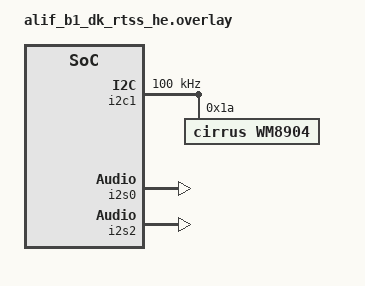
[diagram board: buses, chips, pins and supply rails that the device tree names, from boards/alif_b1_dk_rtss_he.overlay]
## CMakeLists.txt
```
# Copyright (C) 2023 Alif Semiconductor - All Rights Reserved.
# Use, distribution and modification of this code is permitted under the
# terms stated in the Alif Semiconductor Software License Agreement
#
# You should have received a copy of the Alif Semiconductor Software
# License Agreement with this file. If not, please write to:
# contact@alifsemi.com, or visit: https://alifsemi.com/license

cmake_minimum_required(VERSION 3.20.0)
find_package(Zephyr REQUIRED HINTS $ENV{ZEPHYR_BASE})
project(le_audio_broadcast_source)

target_sources(app PRIVATE
    src/main.c
    src/broadcast_source.c
    src/audio_datapath.c
    src/mic_source.c
)
```

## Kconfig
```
#Copyright(C) 2023 Alif Semiconductor - All Rights Reserved.
#Use, distribution and modification of this code is permitted under the
#terms stated in the Alif Semiconductor Software License Agreement
#
#You should have received a copy of the Alif Semiconductor Software
#License Agreement with this file.If not, please write to:
#contact @alifsemi.com, or visit : https: // alifsemi.com/license

menu "Alif Bluetooth LE Audio Broadcast Source"

config BLE_DEVICE_NAME
	string "BLE device name"
	default "ALIF_ZEPHYR"
	help
	  Device name to be included in advertising packets

config BROADCAST_NAME
	string "LE audio broadcast name"
	default "ALIF_LE_AUDIO"

config BROADCAST_PASSWORD
	string "LE audio broadcast password"
	help
	  If defined the broadcast stream will be encrypted.
	  Length needs to be between 4 and 16 chars or empty string (default) to disable.

config LE_AUDIO_PRESENTATION_DELAY_MS
	int "Presentation delay in ms"
	default 40
	help
	  LE audio presentation delay in ms. For the audio source use-case, this is defined as the
	  time in ms from the start of recording an audio frame, to the SDU reference anchor point
	  at which the SDU containing the same audio frame is sent over BLE. The absolute minimum
	  possible presentation delay would be the frame length (10 ms) plus the encoding time of
	  the frame, since it is impossible to send the frame before it has been fully recorded and
	  encoded. But some margin should be added on top of this to account for any overhead and
	  timing variations due to other activities of the software occurring while recording and
	  encoding the audio.

config APP_PRINT_STATS
	bool "Print info about send SDUs"
	depends on LOG

config APP_PRINT_STATS_INTERVAL
	int "Interval for printing info about send frames, in SDU count"
	default 1024
	depends on APP_PRINT_STATS
	help
	  Interval at which to print presentation delay statistics. The interval is measured in SDU
	  count, e.g. 1024 means to print the statistics every 512 SDUs (per channel). With a 10 ms
	  SDU interval this is around 10 seconds.

config MICROPHONE_GAIN
	int "Microphone gain in percentage"
	default 800
	range 100 1000

config INPUT_VOLUME_LEVEL
	int "Input volume level in percentage when MIC input is active"
	default 33
	range 10 100

menu "Logging"

module = MAIN
module-str = main
source "subsys/logging/Kconfig.template.log_config"

module = BROADCAST_SOURCE
module-str = broadcast_source
source "subsys/logging/Kconfig.template.log_config"

module = AUDIO_DATAPATH
module-str = audio_datapath
source "subsys/logging/Kconfig.template.log_config"

endmenu # "Logging"

endmenu # "Alif Bluetooth LE Audio Broadcast Source"

source "Kconfig.zephyr"
```

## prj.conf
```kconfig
# Copyright (C) 2023 Alif Semiconductor - All Rights Reserved.
# Use, distribution and modification of this code is permitted under the
# terms stated in the Alif Semiconductor Software License Agreement
#
# You should have received a copy of the Alif Semiconductor Software
# License Agreement with this file. If not, please write to:
# contact@alifsemi.com, or visit: https://alifsemi.com/license
CONFIG_BT=y
CONFIG_BT_CUSTOM=y
CONFIG_ALIF_ROM_LC3_CODEC=y
CONFIG_ALIF_BLE_AUDIO=y

CONFIG_LOG=y

CONFIG_PRESENTATION_COMPENSATION_DIRECTION_SOURCE=y

CONFIG_AUDIO=y
CONFIG_AUDIO_CODEC=y
CONFIG_AUDIO_CODEC_SHELL=y
CONFIG_SHELL=y

# This is specific to whichever clock you use. Currently presentation layer is
# commented out so this does nothing
CONFIG_AUDIO_CLOCK_DIVIDER=1

# Should be replaced by TRNG when support is available
CONFIG_TEST_RANDOM_GENERATOR=y

# malloc support is required, simplest way is using newlib although it would also be possible to
# configure heap for picolibc
CONFIG_NEWLIB_LIBC=y

# Driver support for audio
CONFIG_I2S=y
CONFIG_I2S_SYNC_BUFFER_FORMAT_SEQUENTIAL=n
CONFIG_DMA=y

CONFIG_BROADCAST_NAME="ALIF_LE_AUDIO"

CONFIG_BROADCAST_PASSWORD="passwordpassword"

# Audio driver support specific to B1 DK board.
# Audio codec is WM8904, connected via I2C.
CONFIG_I2C=y
CONFIG_WM8904=y

CONFIG_I2C_INIT_PRIORITY=50
CONFIG_WM8904_INIT_PRIORITY=99

# For MRAM(XIP) builds with LLVM exception tables cause linker errors as part of the code is placed to TCM
CONFIG_EXCEPTIONS=n
```

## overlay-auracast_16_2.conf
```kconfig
# Auracast Standard Quality codec configurations settings
CONFIG_ALIF_BLE_AUDIO_FS_16KHZ=y
CONFIG_ALIF_BLE_AUDIO_OCTETS_PER_CODEC_FRAME_40=y
CONFIG_ALIF_BLE_AUDIO_RTN_4=y
```

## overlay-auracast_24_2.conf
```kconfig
# Auracast Standard Quality codec configurations settings
CONFIG_ALIF_BLE_AUDIO_FS_24KHZ=y
CONFIG_ALIF_BLE_AUDIO_OCTETS_PER_CODEC_FRAME_60=y
CONFIG_ALIF_BLE_AUDIO_RTN_4=y
```

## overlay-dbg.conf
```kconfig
CONFIG_NO_OPTIMIZATIONS=y

# Debug
CONFIG_LOG=y
#CONFIG_USE_SEGGER_RTT=y
#CONFIG_RTT_CONSOLE=y

#CONFIG_APP_PRINT_STATS=y

#CONFIG_MAIN_LOG_LEVEL_DBG=y
#CONFIG_BROADCAST_SOURCE_LOG_LEVEL_DBG=y
#CONFIG_BLE_AUDIO_LOG_LEVEL_DBG=y
#CONFIG_PRESENTATION_COMPENSATION_PRINT_STATS=y


## Debugging configuration
CONFIG_THREAD_NAME=y
CONFIG_THREAD_ANALYZER=y
CONFIG_THREAD_ANALYZER_AUTO=y
CONFIG_THREAD_ANALYZER_RUN_UNLOCKED=y
CONFIG_THREAD_ANALYZER_USE_PRINTK=y
CONFIG_THREAD_ANALYZER_AUTO_STACK_SIZE=6044

## Add asserts
CONFIG_ASSERT=y
#CONFIG_ASSERT_VERBOSE=y
#CONFIG_ASSERT_NO_COND_INFO=n
#CONFIG_ASSERT_NO_MSG_INFO=n

CONFIG_STACK_SENTINEL=y

#CONFIG_LOG_MODE_IMMEDIATE=y
CONFIG_LOG_MODE_MINIMAL=y
#CONFIG_LC3_ENCODER_STACK_SIZE=6044
```

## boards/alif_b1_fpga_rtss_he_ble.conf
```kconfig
# Copyright (C) 2023 Alif Semiconductor - All Rights Reserved.
# Use, distribution and modification of this code is permitted under the
# terms stated in the Alif Semiconductor Software License Agreement
#
# You should have received a copy of the Alif Semiconductor Software
# License Agreement with this file. If not, please write to:
# contact@alifsemi.com, or visit: https://alifsemi.com/license

# Audio clock is provided by SI570, connected via I2C using TCA9548 I2C mux.
CONFIG_SI570=y

CONFIG_I2C_TCA954X_ROOT_INIT_PRIO=51
CONFIG_I2C_TCA954X_CHANNEL_INIT_PRIO=52

# SI570 clock output is passed through a fixed /8 divider to create MCLK signal
CONFIG_AUDIO_CLOCK_DIVIDER=8

# 24 MHz FPGA bitstream is not fast enough to encode stereo
CONFIG_ALIF_BLE_AUDIO_NMB_CHANNELS=1
```

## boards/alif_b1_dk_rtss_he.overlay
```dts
/* Copyright (C) 2023 Alif Semiconductor - All Rights Reserved.
 * Use, distribution and modification of this code is permitted under the
 * terms stated in the Alif Semiconductor Software License Agreement
 *
 * You should have received a copy of the Alif Semiconductor Software
 * License Agreement with this file. If not, please write to:
 * contact@alifsemi.com, or visit: https: //alifsemi.com/license
 *
 */

#include <dt-bindings/pinctrl/balletto-pinctrl.h>
#include <dt-bindings/i2c/i2c.h>
#include <dt-bindings/gpio/gpio.h>

#define I2S0_IRQ_NUM  141
#define I2S0_IRQ_PRIO 3

#define LPI2S_IRQ_NUM  48
#define LPI2S_IRQ_PRIO 3

#define I2S0_DMA_RX_CH  2
#define I2S0_DMA_RX_REQ 24
#define I2S0_DMA_TX_CH  3
#define I2S0_DMA_TX_REQ 28

#define LPI2S_DMA_RX_CH  4
#define LPI2S_DMA_RX_REQ 14
#define LPI2S_DMA_TX_CH  5
#define LPI2S_DMA_TX_REQ 15

#define AUDIO_DMA_ENABLED 1
#define MIC_DMA_ENABLED 1

/ {
	aliases {
		audio-codec = &wm8904;
		i2s-input = &i2s0;
		i2s-mic = &i2s2;
	};
};

&dma2 {
	status = "okay";
	dma-channels = <8>;
	interrupts = <0 3>, <1 3>, <2 3>, <3 3>, <4 3>, <5 3>,
		     <6 3>, <7 3>, <32 3>;
	interrupt-names = "channel0", "channel1",
			  "channel2", "channel3",
			  "channel4", "channel5",
			  "channel6", "channel7",
			  "abort";
};

&i2c1 {
	clock-frequency = <I2C_BITRATE_STANDARD>;
	status = "okay";

	wm8904: wm8904@1a {
		compatible = "cirrus,wm8904";
		reg = <0x1a>;
		status = "okay";
	};
};

&i2s0 {
	/delete-property/ clock-frequency;
	/delete-property/ driver_instance;
	compatible = "alif,i2s-sync";
	interrupts = <I2S0_IRQ_NUM I2S0_IRQ_PRIO>;
	bit-depth = <16>;
	sample-rate = <48000>;
	status = "okay";
#if AUDIO_DMA_ENABLED
	dmas = <&dma2 I2S0_DMA_RX_CH I2S0_DMA_RX_REQ>,
	       <&dma2 I2S0_DMA_TX_CH I2S0_DMA_TX_REQ>;
	dma-names = "rxdma", "txdma";
#endif
};

&i2s2 {
	/delete-property/ clock-frequency;
	/delete-property/ driver_instance;
	compatible = "alif,i2s-sync";
	interrupts = <LPI2S_IRQ_NUM LPI2S_IRQ_PRIO>;
	bit-depth = <16>;
	sample-rate = <48000>;
	status = "okay";
#if MIC_DMA_ENABLED
	dmas = <&dma2 LPI2S_DMA_RX_CH LPI2S_DMA_RX_REQ>,
	       <&dma2 LPI2S_DMA_TX_CH LPI2S_DMA_TX_REQ>;
	dma-names = "rxdma", "txdma";
#endif
};

&pinctrl_i2c1 {
	group0 {
		pinmux = <PIN_P7_2__I2C1_SDA_C>,
			 <PIN_P7_3__I2C1_SCL_C>;
	};
};

&pinctrl_i2s0 {
	group0 {
		pinmux = <PIN_P2_4__I2S0_SDI_B>,
			 <PIN_P2_5__I2S0_SDO_B>,
			 <PIN_P1_7__I2S0_WS_A>,
			 <PIN_P1_6__I2S0_SCLK_A>;
	};
};

/* Jouystick middle button */
&pinctrl_gpio5 {
	group1 {
		pinmux = <PIN_P5_7__GPIO>;
		driver_state_control = <1>;
		read_enable = < 0x1 >;
	};
};

/* Disable unnecessary nodes */
&i2s1 {
	status = "disabled";
};
&uart_ahi {
	status = "disabled";
};
```

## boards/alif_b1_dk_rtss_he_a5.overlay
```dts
/* Copyright Alif Semiconductor - All Rights Reserved.
 * Use, distribution and modification of this code is permitted under the
 * terms stated in the Alif Semiconductor Software License Agreement
 *
 * You should have received a copy of the Alif Semiconductor Software
 * License Agreement with this file. If not, please write to:
 * contact@alifsemi.com, or visit: https: //alifsemi.com/license
 *
 */

#include <dt-bindings/pinctrl/balletto-pinctrl.h>
#include <dt-bindings/i2c/i2c.h>
#include <dt-bindings/gpio/gpio.h>

#define I2S0_IRQ_NUM  141
#define I2S0_IRQ_PRIO 3

#define LPI2S_IRQ_NUM  48
#define LPI2S_IRQ_PRIO 3

#define I2S0_DMA_RX_CH  2
#define I2S0_DMA_RX_REQ 24
#define I2S0_DMA_TX_CH  3
#define I2S0_DMA_TX_REQ 28

#define LPI2S_DMA_RX_CH  4
#define LPI2S_DMA_RX_REQ 14
#define LPI2S_DMA_TX_CH  5
#define LPI2S_DMA_TX_REQ 15

#define AUDIO_DMA_ENABLED 1
#define MIC_DMA_ENABLED 1

/ {
	aliases {
		audio-codec = &wm8904;
		i2s-input = &i2s0;
	};
};

&dma2 {
	status = "okay";
	dma-channels = <8>;
	interrupts = <0 3>, <1 3>, <2 3>, <3 3>, <4 3>, <5 3>,
		     <6 3>, <7 3>, <32 3>;
	interrupt-names = "channel0", "channel1",
			  "channel2", "channel3",
			  "channel4", "channel5",
			  "channel6", "channel7",
			  "abort";
};

&i2c1 {
	clock-frequency = <I2C_BITRATE_STANDARD>;
	status = "okay";

	wm8904: wm8904@1a {
		compatible = "cirrus,wm8904";
		reg = <0x1a>;
		status = "okay";
	};
};

&i2s0 {
	/delete-property/ clock-frequency;
	/delete-property/ driver_instance;
	compatible = "alif,i2s-sync";
	interrupts = <I2S0_IRQ_NUM I2S0_IRQ_PRIO>;
	bit-depth = <16>;
	sample-rate = <48000>;
	status = "okay";
#if AUDIO_DMA_ENABLED
	dmas = <&dma2 I2S0_DMA_RX_CH I2S0_DMA_RX_REQ>,
	       <&dma2 I2S0_DMA_TX_CH I2S0_DMA_TX_REQ>;
	dma-names = "rxdma", "txdma";
#endif
};

&pinctrl_i2c1 {
	group0 {
		pinmux = <PIN_P7_2__I2C1_SDA_C>,
			 <PIN_P7_3__I2C1_SCL_C>;
	};
};

&pinctrl_i2s0 {
	group0 {
		pinmux = <PIN_P2_4__I2S0_SDI_B>,
			 <PIN_P2_5__I2S0_SDO_B>,
			 <PIN_P1_7__I2S0_WS_A>,
			 <PIN_P1_6__I2S0_SCLK_A>;
	};
};

/* Jouystick middle button */
&pinctrl_gpio5 {
	group1 {
		pinmux = <PIN_P5_7__GPIO>;
		driver_state_control = <1>;
		read_enable = < 0x1 >;
	};
};

/* Disable unnecessary nodes */
&i2s1 {
	status = "disabled";
};
&i2s2 {
	status = "disabled";
};
&uart_ahi {
	status = "disabled";
};
```

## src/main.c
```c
/* Copyright (C) 2023 Alif Semiconductor - All Rights Reserved.
 * Use, distribution and modification of this code is permitted under the
 * terms stated in the Alif Semiconductor Software License Agreement
 *
 * You should have received a copy of the Alif Semiconductor Software
 * License Agreement with this file. If not, please write to:
 * contact@alifsemi.com, or visit: https://alifsemi.com/license
 */

#include <zephyr/kernel.h>
#include <zephyr/drivers/gpio.h>
#include <zephyr/logging/log.h>
#include <zephyr/sys/__assert.h>
#include "alif_ble.h"
#include "gapm.h"
#include "gap_le.h"
#include "broadcast_source.h"
#include "audio_datapath.h"

LOG_MODULE_REGISTER(main, CONFIG_MAIN_LOG_LEVEL);

#define MIC_ENABLED (DT_NODE_EXISTS(DT_ALIAS(i2s_mic)) && DT_NODE_EXISTS(DT_ALIAS(sw0)))

#if MIC_ENABLED
static const struct gpio_dt_spec button = GPIO_DT_SPEC_GET_OR(DT_ALIAS(sw0), gpios, {0});
static const struct gpio_dt_spec led = GPIO_DT_SPEC_GET_OR(DT_ALIAS(led0), gpios, {0});

#if CONFIG_I2S_SYNC_BUFFER_FORMAT_SEQUENTIAL
#error "Sequential buffer format is not supported"
#endif
#endif

/**
 * Bluetooth stack configuration
 */
static const gapm_config_t gapm_cfg = {
	.role = GAP_ROLE_LE_BROADCASTER,
	.pairing_mode = GAPM_PAIRING_DISABLE,
	.privacy_cfg = 0,
	.renew_dur = 1500,
	.private_identity.addr = {0, 0, 0, 0, 0, 0},
	.irk.key = {0, 0, 0, 0, 0, 0, 0, 0, 0, 0, 0, 0, 0, 0, 0, 0},
	.gap_start_hdl = 0,
	.gatt_start_hdl = 0,
	.att_cfg = 0,
	.sugg_max_tx_octets = GAP_LE_MAX_OCTETS,
	/* Use the minimum transmission time to minimize latency */
	.sugg_max_tx_time = GAP_LE_MIN_TIME,
	.tx_pref_phy = GAP_PHY_ANY,
	.rx_pref_phy = GAP_PHY_ANY,
	.tx_path_comp = 0,
	.rx_path_comp = 0,
	.class_of_device = 0,  /* BT Classic only */
	.dflt_link_policy = 0, /* BT Classic only */
};

#if !CONFIG_ALIF_BLE_ROM_IMAGE_V1_0 /* ROM version > 1.0 */
static void on_gapm_err(uint32_t metainfo, uint8_t code)
{
	LOG_ERR("gapm error %d", code);
}

static const gapm_cb_t gapm_err_cbs = {
	.cb_hw_error = on_gapm_err,
};

/* For the broadcaster role, callbacks are not mandatory */
static const gapm_callbacks_t gapm_cbs = {
	.p_con_req_cbs = NULL,
	.p_sec_cbs = NULL,
	.p_info_cbs = NULL,
	.p_le_config_cbs = NULL,
	.p_bt_config_cbs = NULL,
	.p_gapm_cbs = &gapm_err_cbs,
};
#else /* ROM version 1.0 */
static void on_gapm_err(enum co_error err)
{
	LOG_ERR("gapm error %d", err);
}

static const gapm_err_info_config_cb_t gapm_err_cbs = {
	.ctrl_hw_error = on_gapm_err,
};

/* For the broadcaster role, callbacks are not mandatory */
static const gapm_callbacks_t gapm_cbs = {
	.p_con_req_cbs = NULL,
	.p_sec_cbs = NULL,
	.p_info_cbs = NULL,
	.p_le_config_cbs = NULL,
	.p_bt_config_cbs = NULL,
	.p_err_info_config_cbs = &gapm_err_cbs,
};
#endif

static void on_gapm_process_complete(uint32_t metainfo, uint16_t status)
{
	if (status) {
		LOG_ERR("gapm process completed with error %u", status);
		return;
	}

	LOG_DBG("gapm process completed successfully");

	int ret = broadcast_source_start();

	if (ret != 0) {
		LOG_ERR("Failed to start broadcast source with error %d", ret);
	}
}

#if MIC_ENABLED

#define BUTTON_DEBOUNCE_MS  5
#define PTT_MINIMUM_TIME_MS 200
#define BUTTON_INVERTED     true

static void set_led(bool const state)
{
	if (!led.port) {
		return;
	}
	gpio_pin_set_dt(&led, state);
}

static bool get_button_state(void)
{
	if (!button.port) {
		return false;
	}
	return !!gpio_pin_get_dt(&button) ^ BUTTON_INVERTED;
}

static void stop_push_to_talk(struct k_work *work)
{
	ARG_UNUSED(work);
	/* Stop push to talk.... */
	audio_datapath_mic_control(false);
	set_led(false);
}

static K_WORK_DELAYABLE_DEFINE(stop_ptt_work, stop_push_to_talk);

static bool last_button_state = true;

static void debounce_expired(struct k_work *work)
{
	ARG_UNUSED(work);

	bool const button_state = get_button_state();

	if (button_state == last_button_state) {
		/* Ignore if state is not changed */
		return;
	}
	last_button_state = button_state;

	if (button_state) {
		/* pressed... */
		(void)k_work_cancel_delayable(&stop_ptt_work);
		audio_datapath_mic_control(true);
		set_led(true);
		return;
	}

	/* Delay shutdown a bit to avoid weird behaviors */
	k_work_reschedule(&stop_ptt_work, K_MSEC(PTT_MINIMUM_TIME_MS));
}

static K_WORK_DELAYABLE_DEFINE(debounce_work, debounce_expired);

static void button_pressed(const struct device *dev, struct gpio_callback *cb, uint32_t pins)
{
	k_work_reschedule(&debounce_work, K_MSEC(BUTTON_DEBOUNCE_MS));
}

static int configure_button(void)
{
	static struct gpio_callback button_cb_data;

	/* Configure button */
	if (!gpio_is_ready_dt(&button)) {
		LOG_WRN("Button is not ready or not configured... ignore");
		return 0;
	}

	if (gpio_pin_configure_dt(&button, GPIO_INPUT)) {
		LOG_ERR("Button configure failed");
		return -1;
	}

	if (gpio_pin_interrupt_configure_dt(&button, GPIO_INT_EDGE_BOTH) != 0) {
		LOG_ERR("button int conf failed");
		return -1;
	}

	gpio_init_callback(&button_cb_data, button_pressed, BIT(button.pin));
	if (gpio_add_callback(button.port, &button_cb_data) != 0) {
		LOG_ERR("cb add failed");
		return -1;
	}

	last_button_state = get_button_state();

	LOG_INF("push-to-talk functionality enabled");

	return 0;
}

static int configure_led(void)
{
	if (!gpio_is_ready_dt(&led)) {
		return 0;
	}

	if (gpio_pin_configure_dt(&led, GPIO_OUTPUT_ACTIVE)) {
		LOG_ERR("led configure failed");
		return -1;
	}

	set_led(false);
	return 0;
}
#else
#define configure_button() 0
#define configure_led()    0
#endif

int main(void)
{
	if (configure_button()) {
		return -1;
	}

	if (configure_led()) {
		return -1;
	}

	int ret = alif_ble_enable(NULL);

	if (ret) {
		LOG_ERR("Failed to enable bluetooth, err %d", ret);
		return ret;
	}

	LOG_DBG("BLE enabled");

	uint16_t err = gapm_configure(0, &gapm_cfg, &gapm_cbs, on_gapm_process_complete);

	if (err != 0) {
		LOG_ERR("gapm_configure error %u", err);
		return -1;
	}

	while (1) {
		k_sleep(K_SECONDS(5));
	}

	return 0;
}
```

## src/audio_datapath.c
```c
/* Copyright (C) 2025 Alif Semiconductor - All Rights Reserved.
 * Use, distribution and modification of this code is permitted under the
 * terms stated in the Alif Semiconductor Software License Agreement
 *
 * You should have received a copy of the Alif Semiconductor Software
 * License Agreement with this file. If not, please write to:
 * contact@alifsemi.com, or visit: https://alifsemi.com/license
 */

#include <zephyr/kernel.h>
#include <zephyr/device.h>
#include <zephyr/logging/log.h>
#include <zephyr/audio/codec.h>
#include "bluetooth/le_audio/audio_encoder.h"
#include "bluetooth/le_audio/audio_source_i2s.h"
#include "audio_datapath.h"
#include "mic_source.h"

LOG_MODULE_REGISTER(audio_datapath, CONFIG_AUDIO_DATAPATH_LOG_LEVEL);

#if CONFIG_ALIF_BLE_AUDIO_USE_RAMFUNC
#define INT_RAMFUNC __ramfunc
#else
#define INT_RAMFUNC
#endif

#define MIC_LEVEL_CALC(_s)   (((int)(_s) * CONFIG_MICROPHONE_GAIN) / 100)
#define INPUT_LEVEL_CALC(_s) (((int)(_s) * CONFIG_INPUT_VOLUME_LEVEL) / 100)

#define I2S_NODE     DT_ALIAS(i2s_input)
#define I2S_MIC_NODE DT_ALIAS(i2s_mic)
#define CODEC_NODE   DT_ALIAS(audio_codec)

const struct device *i2s_dev = DEVICE_DT_GET(I2S_NODE);
const struct device *codec_dev = DEVICE_DT_GET(CODEC_NODE);
const struct device *i2s_mic_dev = DEVICE_DT_GET_OR_NULL(I2S_MIC_NODE);

/* Audio datapath handles */
static struct audio_encoder *audio_encoder;

#if CONFIG_APP_PRINT_STATS
static void on_frame_complete(void *param, uint32_t timestamp, uint16_t sdu_seq)
{
	if ((sdu_seq % CONFIG_APP_PRINT_STATS_INTERVAL) == 0) {
		LOG_INF("SDU sequence number: %u", sdu_seq);
	}
}
#endif

#ifdef CONFIG_PRESENTATION_COMPENSATION_DEBUG
void on_timing_debug_info_ready(struct presentation_comp_debug_data *dbg_data)
{
	LOG_INF("Presentation compensation debug data is ready");
}
#endif

static int configure_codec(const uint32_t sampling_rate_hz)
{
	int ret;
	/* clang-format off */
	struct audio_codec_cfg codec_cfg = {
		.dai_type = AUDIO_DAI_TYPE_I2S,
		.dai_cfg = {
			.i2s = {
				.word_size = AUDIO_PCM_WIDTH_16_BITS,
				.channels = 2,
				.format = I2S_FMT_DATA_FORMAT_I2S,
				.options = 0,
				.frame_clk_freq = sampling_rate_hz,
				.mem_slab = NULL,
				.block_size = 0,
				.timeout = 0,
			},
		},
	};
	/* clang-format on */

	/* Configure codec */
	ret = audio_codec_configure(codec_dev, &codec_cfg);
	if (ret) {
		LOG_ERR("Failed to configure source codec. err %d", ret);
		return ret;
	}
	audio_codec_start_output(codec_dev);

	return 0;
}

INT_RAMFUNC static void audio_encoder_mixer_thread_func(void *p1, void *p2, void *p3)
{
	/* thread:
	 * get audio input jack buffer
	 * if audio_queue_mic has data available
	 *     adjust mic gain
	 *     lower input audio gain
	 *     mix mic and audio input samples
	 *     free mic data
	 * end
	 * push audio samples to LC3 encoder
	 * free audio input buffer
	 */

	struct audio_queue *audio_queue_in1 = p1; /* input I2S codec (WM8904) */
	struct audio_queue *audio_queue_in2 = p2; /* input I2S MIC */
	struct audio_queue *audio_queue_out = p3; /* output (to LC3 encoder) */
	struct audio_block *audio_in1;
	struct audio_block *audio_in2;
	struct audio_block *audio_out;
	int ret;

	LOG_DBG("Mixer thread started");

	while (1) {
		audio_out = audio_in2 = audio_in1 = NULL;
		ret = k_msgq_get(&audio_queue_in1->msgq, &audio_in1, K_FOREVER);
		if (ret || !audio_in1) {
			continue;
		}

		ret = k_msgq_get(&audio_queue_in2->msgq, &audio_in2, K_NO_WAIT);
		if (!ret && audio_in2) {
			/* Do mixing... */
			size_t const samples =
				audio_queue_in2->audio_block_samples * audio_in2->num_channels;
			pcm_sample_t *p_mic_data = audio_in2->channels[0];
			bool const mic_has_right_channel = audio_in2->num_channels > 1;

			pcm_sample_t *p_input_left = audio_in1->channels[0];
			pcm_sample_t *p_input_right =
				audio_in1->num_channels > 1 ? audio_in1->channels[1] : NULL;
			pcm_sample_t data;

			for (size_t sample = 0; sample < samples; sample++) {
				data = *p_mic_data++;
				data = MIC_LEVEL_CALC(data);

				if ((sample & 1) && mic_has_right_channel) { /* Right channel */
					if (p_input_right) {
						*p_input_right =
							data + INPUT_LEVEL_CALC(*p_input_right);
						p_input_right++;
					}
				} else { /* Left channel */
					*p_input_left = data + INPUT_LEVEL_CALC(*p_input_left);
					p_input_left++;
				}
			}
			k_mem_slab_free(&audio_queue_in2->slab, audio_in2);
		}

		ret = k_mem_slab_alloc(&audio_queue_out->slab, (void **)&audio_out, K_NO_WAIT);
		if (ret || !audio_out) {
			k_mem_slab_free(&audio_queue_in1->slab, audio_in1);
			continue;
		}

		/* Copy in1 to out */
		memcpy(audio_out, audio_in1, sizeof(*audio_out));

		ret = k_msgq_put(&audio_queue_out->msgq, &audio_out, K_NO_WAIT);
		if (ret) {
			k_mem_slab_free(&audio_queue_out->slab, audio_out);
		}
		k_mem_slab_free(&audio_queue_in1->slab, audio_in1);
	}
}

static int configure_mic_input(void)
{
	/*
	 * Two I2S input queues are used:
	 *   - audio jack I2S input (audio_queue_i2s)
	 *   - mic I2S input (audio_queue_mic)
	 *
	 * Configured (audio encoder input) audio I2S input queue will be changed
	 * to audio_queue_i2s and the created thread will mix audio_queue_mic
	 * into audio_queue_i2s. Result will be copied and pushed to
	 * audio_queue_current (audio encoder input queue).
	 */

	struct audio_queue *audio_queue_current = audio_encoder_audio_queue_get(audio_encoder);

	if (!audio_queue_current) {
		LOG_ERR("Failed to get audio queue");
		return -ENODEV;
	}

	struct audio_queue *audio_queue_mic, *audio_queue_i2s;

	audio_queue_mic = audio_queue_create(audio_queue_current->item_count,
					     audio_queue_current->sampling_freq_hz,
					     audio_queue_current->frame_duration_us);

	if (!audio_queue_mic) {
		LOG_ERR("Failed to create audio queue");
		return -ENOMEM;
	}

	audio_queue_i2s = audio_queue_create(audio_queue_current->item_count,
					     audio_queue_current->sampling_freq_hz,
					     audio_queue_current->frame_duration_us);

	if (!audio_queue_i2s) {
		audio_queue_delete(audio_queue_mic);
		LOG_ERR("Failed to create audio queue");
		return -ENOMEM;
	}

	int ret = audio_source_i2s_configure(i2s_dev, audio_queue_i2s);

	if (ret != 0) {
		audio_queue_delete(audio_queue_i2s);
		audio_queue_delete(audio_queue_mic);
		LOG_ERR("Failed to configure audio source I2S, err %d", ret);
		return ret;
	}

	ret = mic_i2s_configure(i2s_mic_dev, audio_queue_mic);
	if (ret != 0) {
		audio_queue_delete(audio_queue_i2s);
		audio_queue_delete(audio_queue_mic);
		LOG_ERR("Failed to configure mic I2S, err %d", ret);
		return ret;
	}

	static struct k_thread mixer_thread;

	static K_THREAD_STACK_DEFINE(mixer_thread_stack, 2048);

	k_tid_t tid = k_thread_create(
		&mixer_thread, mixer_thread_stack, K_THREAD_STACK_SIZEOF(mixer_thread_stack),
		audio_encoder_mixer_thread_func, audio_queue_i2s, audio_queue_mic,
		audio_queue_current, CONFIG_ALIF_BLE_HOST_THREAD_PRIORITY + 1, 0, K_NO_WAIT);

	if (!tid) {
		audio_queue_delete(audio_queue_i2s);
		audio_queue_delete(audio_queue_mic);
		LOG_ERR("Failed to create mixer thread");
		return -EINVAL;
	}

	k_thread_name_set(tid, "mixer");

	return 0;
}

int audio_datapath_init(void)
{
	if (!device_is_ready(i2s_dev)) {
		LOG_ERR("I2S device is not ready");
		return -ENODEV;
	}
	if (!device_is_ready(codec_dev)) {
		LOG_ERR("Audio codec device is not ready");
		return -ENODEV;
	}
	if (i2s_mic_dev && !device_is_ready(i2s_mic_dev)) {
		LOG_ERR("I2S MIC device is not ready");
		return -1;
	}

	struct audio_encoder_params const enc_params = {
		.i2s_dev = i2s_dev,
		.frame_duration_us =
			IS_ENABLED(CONFIG_ALIF_BLE_AUDIO_FRAME_DURATION_10MS) ? 10000 : 7500,
		.sampling_rate_hz = CONFIG_ALIF_BLE_AUDIO_FS_HZ,
		.audio_buffer_len_us = 2 * CONFIG_ALIF_BLE_AUDIO_MAX_TLATENCY,
	};

	audio_encoder_delete(audio_encoder);

	configure_codec(enc_params.sampling_rate_hz);

	audio_encoder = audio_encoder_create(&enc_params);
	if (!audio_encoder) {
		LOG_ERR("Failed to create audio encoder");
		return -ENODEV;
	}

#if CONFIG_APP_PRINT_STATS
	int ret = audio_encoder_register_cb(audio_encoder, on_frame_complete, NULL);

	if (ret != 0) {
		LOG_ERR("Failed to register encoder cb for stats, err %d", ret);
		return ret;
	}
#endif

	if (i2s_mic_dev && configure_mic_input() != 0) {
		LOG_ERR("Failed to configure mic input");
		return -1;
	}

	return 0;
}

int audio_datapath_channel_create(const size_t octets_per_frame, const uint8_t stream_lid)
{
	int ret = audio_encoder_add_channel(audio_encoder, octets_per_frame, stream_lid);

	if (ret) {
		LOG_ERR("Channel %u creation failed. Err %d", stream_lid, ret);
		return ret;
	}
	return 0;
}

void audio_datapath_start(const uint8_t stream_lid)
{
	int retval;

	retval = audio_encoder_start_channel(audio_encoder, stream_lid);
	if (retval != 0) {
		LOG_ERR("Failed to start channel %d, err %d", stream_lid, retval);
		__ASSERT(false, "Failed to start channel");
	}
}

void audio_datapath_mic_control(bool const start)
{
	/* Do nothing if audio encoder is not initialized */
	if (!audio_encoder) {
		return;
	}

	if (start) {
		LOG_INF("MIC start...");
		mic_i2s_start();
		return;
	}

	LOG_INF("MIC stop...");
	mic_i2s_stop();
}
```

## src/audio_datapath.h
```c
/* Copyright (C) 2025 Alif Semiconductor - All Rights Reserved.
 * Use, distribution and modification of this code is permitted under the
 * terms stated in the Alif Semiconductor Software License Agreement
 *
 * You should have received a copy of the Alif Semiconductor Software
 * License Agreement with this file. If not, please write to:
 * contact@alifsemi.com, or visit: https://alifsemi.com/license
 */

#ifndef AUDIO_DATAPATH_H_
#define AUDIO_DATAPATH_H_

#include <zephyr/types.h>
/**
 * @brief Initializes the audio datapath
 *
 * This creates and configures all of the required elements to stream audio from Bluetooth LE to I2S
 *
 * @retval 0 if successful
 * @retval Negative error code on failure
 */
int audio_datapath_init(void);

/**
 * @brief Creates the audio source datapath channel
 *
 * @param octets_per_frame Number of data per frame
 * @param stream_lid Stream local ID of the channel to be created
 *
 * @retval 0 if successful
 * @retval Negative error code on failure
 */
int audio_datapath_channel_create(size_t octets_per_frame, uint8_t stream_lid);

/**
 * @brief Starts the audio datapath
 *
 * This starts reception of the first SDU over the ISO datapath, which when received starts off the
 * operation of the rest of the datapath.
 *
 * @param stream_lid Stream local ID of the channel to be started
 *
 * @retval 0 if successful
 * @retval Negative error code on failure
 */
void audio_datapath_start(uint8_t stream_lid);

/**
 * @brief Controls the microphone input
 *
 * @param start True to start the microphone input, false to stop it
 */
void audio_datapath_mic_control(bool start);

#endif /* AUDIO_DATAPATH_H_ */
```

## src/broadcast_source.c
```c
/* Copyright (C) 2023 Alif Semiconductor - All Rights Reserved.
 * Use, distribution and modification of this code is permitted under the
 * terms stated in the Alif Semiconductor Software License Agreement
 *
 * You should have received a copy of the Alif Semiconductor Software
 * License Agreement with this file. If not, please write to:
 * contact@alifsemi.com, or visit: https://alifsemi.com/license
 */

#include <zephyr/kernel.h>
#include <zephyr/logging/log.h>
#include <zephyr/random/random.h>
#include "bluetooth/le_audio/audio_utils.h"

#include "ke_mem.h"
#include "bap.h"
#include "bap_bc.h"
#include "bap_bc_src.h"
#include "broadcast_source.h"
#include "audio_datapath.h"

LOG_MODULE_REGISTER(broadcast_source, CONFIG_BROADCAST_SOURCE_LOG_LEVEL);

#define PRESENTATION_DELAY_US (CONFIG_LE_AUDIO_PRESENTATION_DELAY_MS * 1000)
#define SUBGROUP_ID           0
#define BIS_ID_BASE           0

#if CONFIG_ALIF_BLE_AUDIO_NMB_CHANNELS >= 2
#define STREAM_LOCATIONS (GAF_LOC_FRONT_LEFT_BIT | GAF_LOC_FRONT_RIGHT_BIT)
#else
#define STREAM_LOCATIONS (GAF_LOC_FRONT_LEFT_BIT)
#endif

static const char bc_password[] = CONFIG_BROADCAST_PASSWORD;

static uint32_t stream_ids[CONFIG_ALIF_BLE_AUDIO_NMB_CHANNELS];
/* Local ID of the broadcast group */
static uint8_t bcast_grp_lid;

static void *alloc_stream_config(uint32_t const location_bf)
{
	/* NOTE: ke_malloc_user must be used to reserve buffer from correct heap! */
	bap_cfg_t *p_stream_cfg = ke_malloc_user(sizeof(*p_stream_cfg), KE_MEM_PROFILE);

	if (!p_stream_cfg) {
		LOG_ERR("Failed to allocate memory for stream configuration");
		return NULL;
	}

	p_stream_cfg->param = (bap_cfg_param_t){
		/* Just set specific location. Other parameters are inherited from subgroup */
		.sampling_freq = BAP_SAMPLING_FREQ_UNKNOWN,
		.frame_dur = BAP_FRAME_DUR_UNKNOWN,
		.frames_sdu = 0,
		.frame_octet = 0,
		.location_bf = location_bf,
	};
	p_stream_cfg->add_cfg.len = 0;

	return p_stream_cfg;
}

static void on_bap_bc_src_cmp_evt(const uint8_t cmd_type, const uint16_t status,
				  const uint8_t grp_lid, const uint8_t sgrp_lid)
{
	LOG_DBG("BAP BC SRC event complete, type %u status %u grp_lid %u sgrp_lid %u", cmd_type,
		status, grp_lid, sgrp_lid);

	switch (cmd_type) {
	case BAP_BC_SRC_CMD_TYPE_ENABLE_PA: {
		LOG_INF("Periodic advertising enabled");

		uint16_t err = bap_bc_src_enable(bcast_grp_lid);

		if (err) {
			LOG_ERR("Failed to enable broadcast source, err %u", err);
		}
		break;
	}

	case BAP_BC_SRC_CMD_TYPE_ENABLE: {
		LOG_INF("Broadcast group %u enabled", bcast_grp_lid);

		uint16_t err = bap_bc_src_start_streaming(bcast_grp_lid, 0xFFFFFFFF);

		if (err) {
			LOG_ERR("Failed to start streaming, err %u", err);
		}
		break;
	}

	case BAP_BC_SRC_CMD_TYPE_START_STREAMING: {
		LOG_INF("Started streaming");
		for (size_t iter = 0; iter < ARRAY_SIZE(stream_ids); iter++) {
			audio_datapath_start(stream_ids[iter]);
		}
		break;
	}

	default: {
		LOG_WRN("Unexpected bap_bc_src command complete event: %u", cmd_type);
		break;
	}
	}
}

static void on_bap_bc_src_info(const uint8_t grp_lid, const gapi_bg_config_t *p_bg_cfg,
			       const uint8_t nb_bis, const uint16_t *p_conhdl)
{
	LOG_DBG("BAP BC SRC info, grp %u, cfg %p, nb_bis %u, p_conhdl %p", grp_lid, p_bg_cfg,
		nb_bis, p_conhdl);
}

static const bap_bc_src_cb_t bap_bc_src_cbs = {.cb_cmp_evt = on_bap_bc_src_cmp_evt,
					       .cb_info = on_bap_bc_src_info};

static int get_adv_param(bap_bc_adv_param_t *p_adv_param)
{
	p_adv_param->adv_intv_min_slot = 160;
	p_adv_param->adv_intv_max_slot = 160;
	p_adv_param->ch_map = ADV_ALL_CHNLS_EN;
	p_adv_param->phy_prim = GAPM_PHY_TYPE_LE_1M;
	p_adv_param->phy_second = GAPM_PHY_TYPE_LE_2M;
	p_adv_param->adv_sid = 1;
#if CONFIG_ALIF_BLE_ROM_IMAGE_V1_0
	p_adv_param->max_tx_pwr = -2;
#else
	p_adv_param->tx_pwr = -2;
	p_adv_param->own_addr_type = GAPM_STATIC_ADDR;
	p_adv_param->max_skip = 0;
	p_adv_param->send_tx_pwr = false;
#endif
	return 0;
}

static int broadcast_source_configure_group(void)
{
	const bap_bc_grp_param_t grp_param = {
		.sdu_intv_us = IS_ENABLED(CONFIG_ALIF_BLE_AUDIO_FRAME_DURATION_10MS) ? 10000 : 7500,
		.max_sdu = CONFIG_ALIF_BLE_AUDIO_OCTETS_PER_CODEC_FRAME,
		.max_tlatency_ms = CONFIG_ALIF_BLE_AUDIO_MAX_TLATENCY,
		.packing = 0,
		.framing = ISO_UNFRAMED_MODE,
		.phy_bf = GAPM_PHY_TYPE_LE_2M,
		.rtn = CONFIG_ALIF_BLE_AUDIO_RTN};

	const gaf_codec_id_t codec_id = GAF_CODEC_ID_LC3;

	bap_bc_adv_param_t adv_param;

	int ret = get_adv_param(&adv_param);

	if (ret) {
		LOG_ERR("Failed to get advertising parameters, err %d", ret);
		return -1;
	}

	const bap_bc_per_adv_param_t per_adv_param = {
		.adv_intv_min_frame = 160,
		.adv_intv_max_frame = 160,
	};

	bap_bcast_id_t bcast_id;

	sys_rand_get(bcast_id.id, sizeof(bcast_id.id));

	const size_t bc_password_len = sizeof(bc_password) - 1;

	if (0 != bc_password_len && (bc_password_len < 4 ||  bc_password_len > GAP_KEY_LEN)) {
		LOG_ERR("Broadcast password is invalid, len must be either 0 or %u, actual %u",
			GAP_KEY_LEN, bc_password_len);
		return -1;
	}

	gaf_bcast_code_t code;
	const gaf_bcast_code_t *ptr = NULL;

	if (bc_password_len) {
		memset(code.bcast_code, 0, GAP_KEY_LEN);
		memcpy(code.bcast_code, bc_password, bc_password_len);
		ptr = &code;
	}

	uint16_t err = bap_bc_src_add_group(&bcast_id, ptr, CONFIG_ALIF_BLE_AUDIO_NMB_CHANNELS, 1,
					    &grp_param, &adv_param, &per_adv_param,
					    PRESENTATION_DELAY_US, &bcast_grp_lid);

	if (err) {
		LOG_ERR("Failed to add broadcast group, err %u", err);
		return -1;
	}

	LOG_DBG("Broadcast group added, got local ID %u", bcast_grp_lid);

	/* This struct must be accessible to the BLE stack for the lifetime of the BIG, so is
	 * statically allocated
	 * NOTE: ke_malloc_user must be used to reserve buffer from correct heap!
	 */
	bap_cfg_t *sgrp_cfg = ke_malloc_user(sizeof(*sgrp_cfg), KE_MEM_PROFILE);

	if (!sgrp_cfg) {
		LOG_ERR("Failed to allocate memory for subgroup configuration");
		return -ENOMEM;
	}
	sgrp_cfg->param = (bap_cfg_param_t){
		/* Location is unspecified at subgroup level */
		.location_bf = 0,
		.frame_octet = CONFIG_ALIF_BLE_AUDIO_OCTETS_PER_CODEC_FRAME,
		.frame_dur = IS_ENABLED(CONFIG_ALIF_BLE_AUDIO_FRAME_DURATION_10MS)
				     ? BAP_FRAME_DUR_10MS
				     : BAP_FRAME_DUR_7_5MS,
		/* 0 is unspecified, data will not be placed in BASE */
		.frames_sdu = 0,
		/* Convert to sampling frequency */
		.sampling_freq = audio_hz_to_bap_sampling_freq(CONFIG_ALIF_BLE_AUDIO_FS_HZ),
	};
	sgrp_cfg->add_cfg.len = 0;

	/* Validate sampling frequency conversion */
	if (sgrp_cfg->param.sampling_freq == BAP_SAMPLING_FREQ_UNKNOWN) {
		LOG_ERR("Unsupported sampling frequency: %u Hz", CONFIG_ALIF_BLE_AUDIO_FS_HZ);
		return -1;
	}

	/* This struct must be accessible to the BLE stack for the lifetime of the BIG, so is
	 * statically allocated
	 * NOTE: ke_malloc_user must be used to reserve buffer from correct heap!
	 */
	bap_cfg_metadata_t *sgrp_meta = ke_malloc_user(sizeof(*sgrp_meta), KE_MEM_PROFILE);

	if (!sgrp_meta) {
		ke_free(sgrp_cfg);
		LOG_ERR("Failed to allocate memory for subgroup metadata");
		return -ENOMEM;
	}
	sgrp_meta->param.context_bf = BAP_CONTEXT_TYPE_UNSPECIFIED_BIT | BAP_CONTEXT_TYPE_MEDIA_BIT;
	sgrp_meta->add_metadata.len = 0;

	err = bap_bc_src_set_subgroup(bcast_grp_lid, SUBGROUP_ID, &codec_id, sgrp_cfg, sgrp_meta);

	if (err) {
		LOG_ERR("Failed to set subgroup, err %u", err);
		return -1;
	}
	LOG_DBG("Broadcast subgroup added");

	const uint16_t dp_id = GAPI_DP_ISOOSHM;

	size_t stream_bits = STREAM_LOCATIONS;

	for (size_t iter = 0; stream_bits != 0; stream_bits >>= 1, iter++) {
		if (!(stream_bits & 1)) {
			continue;
		}

		const uint32_t stream_id = iter + BIS_ID_BASE;
		bap_cfg_t *stream_cfg = alloc_stream_config(0x1 << iter);

		if (!stream_cfg) {
			LOG_ERR("Failed to allocate memory for stream configuration");
			return -ENOMEM;
		}

		err = bap_bc_src_set_stream(bcast_grp_lid, stream_id, SUBGROUP_ID, dp_id, 0,
					    stream_cfg);
		if (err) {
			ke_free(stream_cfg);
			LOG_ERR("Failed to set stream %u, err %u", stream_id, err);
			return -1;
		}

		err = audio_datapath_channel_create(sgrp_cfg->param.frame_octet, stream_id);
		if (err) {
			return -1;
		}

		stream_ids[iter] = stream_id;
	}

	LOG_DBG("Broadcast stream added");

	return 0;
}

static int broadcast_source_enable(void)
{
	uint8_t ad_data[1 + sizeof(CONFIG_BLE_DEVICE_NAME)];

	ad_data[0] = sizeof(ad_data) - 1; /* Size of data following the size byte */
	ad_data[1] = GAP_AD_TYPE_COMPLETE_NAME;

	memcpy(&ad_data[2], CONFIG_BLE_DEVICE_NAME, sizeof(ad_data) - 2);

	uint16_t err = bap_bc_src_enable_pa(bcast_grp_lid, sizeof(ad_data), 0, ad_data, NULL,
					    sizeof(CONFIG_BROADCAST_NAME) - 1,
					    CONFIG_BROADCAST_NAME, 0, NULL);

	if (err) {
		LOG_ERR("Failed to enable PA with error %u", err);
		return -1;
	}

	return 0;
}

int broadcast_source_start(void)
{
	int ret;
	uint16_t err = bap_bc_src_configure(&bap_bc_src_cbs);

	if (err) {
		LOG_ERR("Error %u configuring bap_bc_src", err);
		return -1;
	}

	LOG_DBG("bap_bc_src configured");

	ret = audio_datapath_init();
	if (ret) {
		LOG_ERR("Failed to initialise audio datapath, err %d", ret);
		return ret;
	}

	ret = broadcast_source_configure_group();
	if (ret) {
		LOG_ERR("Failed to configure broadcast source group, err %d", ret);
		return ret;
	}

	LOG_DBG("Broadcast group configured");

	return broadcast_source_enable();
}
```

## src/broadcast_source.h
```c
/* Copyright (C) 2023 Alif Semiconductor - All Rights Reserved.
 * Use, distribution and modification of this code is permitted under the
 * terms stated in the Alif Semiconductor Software License Agreement
 *
 * You should have received a copy of the Alif Semiconductor Software
 * License Agreement with this file. If not, please write to:
 * contact@alifsemi.com, or visit: https://alifsemi.com/license
 */

#ifndef _BROADCAST_SOURCE_H
#define _BROADCAST_SOURCE_H

/**
 * @brief Start the LE audio broadcast source
 *
 * @return 0 on success
 */
int broadcast_source_start(void);

#endif /* _BROADCAST_SOURCE_H */
```

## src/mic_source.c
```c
/* Copyright (C) 2025 Alif Semiconductor - All Rights Reserved.
 * Use, distribution and modification of this code is permitted under the
 * terms stated in the Alif Semiconductor Software License Agreement
 *
 * You should have received a copy of the Alif Semiconductor Software
 * License Agreement with this file. If not, please write to:
 * contact@alifsemi.com, or visit: https://alifsemi.com/license
 */

#include <zephyr/kernel.h>
#include <zephyr/sys/__assert.h>
#include <zephyr/sys/util.h>
#include "drivers/i2s_sync.h"
#include "gapi_isooshm.h"
#include "bluetooth/le_audio/audio_queue.h"
#include "mic_source.h"

struct mic_source_env {
	const struct device *dev;
	struct audio_queue *audio_queue;
	size_t block_size;
	size_t number_of_channels;
	bool started;
	bool capture;
};

static struct mic_source_env mic_source;

#if CONFIG_ALIF_BLE_AUDIO_USE_RAMFUNC
#define INT_RAMFUNC __ramfunc
#else
#define INT_RAMFUNC
#endif

INT_RAMFUNC static void recv_next_block(const struct device *dev)
{
	struct audio_block *p_block = NULL;
	int ret = k_mem_slab_alloc(&mic_source.audio_queue->slab, (void **)&p_block, K_NO_WAIT);

	if (ret || !p_block) {
		return;
	}

	i2s_sync_recv(dev, p_block->channels, mic_source.block_size);

	p_block->timestamp = 0;
	p_block->num_channels = mic_source.number_of_channels;
}

INT_RAMFUNC static void on_data_received(const struct device *dev,
					 const enum i2s_sync_status status, void *block)
{
	ARG_UNUSED(status);

	recv_next_block(dev);

	if (!block) {
		return;
	}

	struct audio_block *p_block = CONTAINER_OF(block, struct audio_block, channels);

	if (!mic_source.capture) {
		/* Just ignore the block */
		k_mem_slab_free(&mic_source.audio_queue->slab, p_block);
		return;
	}

	if (k_msgq_put(&mic_source.audio_queue->msgq, &p_block, K_NO_WAIT)) {
		/* Failed to put into queue */
		k_mem_slab_free(&mic_source.audio_queue->slab, p_block);
	}
}

int mic_i2s_configure(const struct device *dev, struct audio_queue *audio_queue)
{
	if (!dev || !audio_queue) {
		return -EINVAL;
	}

	struct i2s_sync_config i2s_cfg;

	if (i2s_sync_get_config(dev, &i2s_cfg)) {
		return -EIO;
	}

	if (i2s_cfg.channel_count > MAX_NUMBER_OF_CHANNELS) {
		return -EINVAL;
	}

	i2s_cfg.sample_rate = audio_queue->sampling_freq_hz;
	if (i2s_sync_configure(dev, &i2s_cfg)) {
		return -EIO;
	}

	/* Shutdown existing stream and wait for start */
	i2s_sync_disable(dev, I2S_DIR_RX);

	mic_source.dev = dev;
	mic_source.audio_queue = audio_queue;
	mic_source.block_size =
		i2s_cfg.channel_count * audio_queue->audio_block_samples * sizeof(pcm_sample_t);
	mic_source.number_of_channels = i2s_cfg.channel_count;
	mic_source.started = false;
	mic_source.capture = false;

	int ret = i2s_sync_register_cb(dev, I2S_DIR_RX, on_data_received);

	if (ret) {
		return ret;
	}

	return 0;
}

void mic_i2s_start(void)
{
	if (!mic_source.dev) {
		return;
	}

	/* Kick the I2S receive operation */
	if (!mic_source.started) {
		recv_next_block(mic_source.dev);
		mic_source.started = true;
	}

	mic_source.capture = true;
}

void mic_i2s_stop(void)
{
	if (!mic_source.dev) {
		return;
	}

	if (!mic_source.started) {
		return;
	}

	mic_source.capture = false;
}
```

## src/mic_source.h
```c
/* Copyright (C) 2025 Alif Semiconductor - All Rights Reserved.
 * Use, distribution and modification of this code is permitted under the
 * terms stated in the Alif Semiconductor Software License Agreement
 *
 * You should have received a copy of the Alif Semiconductor Software
 * License Agreement with this file. If not, please write to:
 * contact@alifsemi.com, or visit: https://alifsemi.com/license
 */

#ifndef MIC_SOURCE_H
#define MIC_SOURCE_H

/**
 * @brief Configure microphone source using I2S
 *
 * @param dev I2S device to use
 * @param audio_queue Audio queue that data will be sent to
 *
 * @retval 0 if successful
 * @retval Negative error code on failure
 */
int mic_i2s_configure(const struct device *dev, struct audio_queue *audio_queue);

/**
 * @brief Start the microphone source stream
 */
void mic_i2s_start(void);

/**
 * @brief Stop the microphone source stream
 */
void mic_i2s_stop(void);

#endif /* MIC_SOURCE_H */
```
